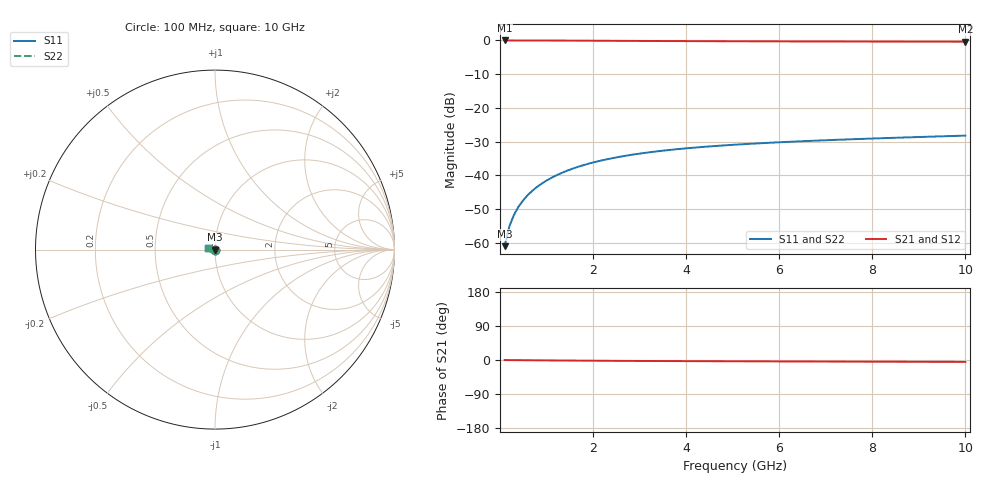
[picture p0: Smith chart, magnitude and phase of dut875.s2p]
! Touchstone file exported from HFSS 2024.1.0
!  File:  C:/UserFiles/LocalFiles/RDL_TSV_Batchsim/temp_TSV1_875_1779883203.aedt
!  Generated:  08:05:55 PM May 27, 2026
!  Design:  TSV1
!  Project:  temp_TSV1_875_1779883203
!  Setup:  Setup1
!  Solution:  Sweep
! Variables:
!  dtsv = 7.31um
!  hbump = 3um
!  htsv = 78.45um
!  lrdl = 252.1521522um
!  p = 40
!  p1 = 45.45um
!  t = 500um
!  trdl = 3um
!  wrdl = 24.89489489um
# GHz S MA R 50.000000
! Terminal data exported
! Port[1] = TSV22_T1
! Port[2] = TSV22_T2
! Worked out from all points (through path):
!   100 points, 100 MHz to 10 GHz, reference 50 ohm
!   highest |S21| = 0.00 dB at 100 MHz (marker M1); lowest = -0.4 dB at 10 GHz (marker M2)
!   lowest |S11| = -61.1 dB at 100 MHz (marker M3), VSWR 1.00, Z = 50 - j0.0852 ohm
!   |S11| at or under -10 dB: start of sweep to end of sweep
!   |S22| runs from -61.1 to -28.3 dB; largest |S21 - S12| = 3.7e-15
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0.1  0.0008849 -74.3  0.9997 -0.1  0.9997 -0.1  0.0008849 -74.3
! Gamma 0 0 0 0
! Port Impedance 50 0 50 0
0.2  0.001725 -84.6  0.9996 -0.2  0.9996 -0.2  0.001725 -84.6
0.3  0.002572 -89.4  0.9995 -0.3  0.9995 -0.3  0.002572 -89.4
0.4  0.003416 -92.7  0.9993 -0.4  0.9993 -0.4  0.003416 -92.7
0.5  0.004256 -95.4  0.999 -0.5  0.999 -0.5  0.004256 -95.4
0.6  0.005089 -97.8  0.9987 -0.6  0.9987 -0.6  0.005089 -97.8
0.7  0.005913 -100.1  0.9984 -0.7  0.9984 -0.7  0.005913 -100.1
0.8  0.006728 -102.2  0.998 -0.8  0.998 -0.8  0.006728 -102.2
0.9  0.007532 -104.2  0.9975 -0.9  0.9975 -0.9  0.007532 -104.2
1.1  0.009103 -108.0  0.9966 -1.1  0.9966 -1.1  0.009103 -108.0
1.4  0.01135 -113.5  0.9948 -1.4  0.9948 -1.4  0.01135 -113.5
1.6  0.01278 -116.9  0.9936 -1.6  0.9936 -1.6  0.01278 -116.9
1.8  0.01414 -120.2  0.9922 -1.7  0.9922 -1.7  0.01414 -120.2
2.1  0.01605 -125.0  0.9901 -1.9  0.9901 -1.9  0.01605 -125.0
2.5  0.01837 -130.9  0.9872 -2.2  0.9872 -2.2  0.01837 -130.9
2.9  0.02044 -136.4  0.9844 -2.4  0.9844 -2.4  0.02044 -136.4
3.4  0.02271 -142.7  0.9811 -2.7  0.9811 -2.7  0.02271 -142.7
4.2  0.02575 -151.8  0.9763 -3.1  0.9763 -3.1  0.02575 -151.8
5.1  0.02851 -160.5  0.9719 -3.4  0.9719 -3.4  0.02851 -160.5
6.7  0.03239 -173.5  0.9661 -4.0  0.9661 -4.0  0.03239 -173.5
8.4  0.03577 175.5  0.9619 -4.5  0.9619 -4.5  0.03577 175.5
10  0.03867 166.8  0.9592 -5.1  0.9592 -5.1  0.03867 166.8
